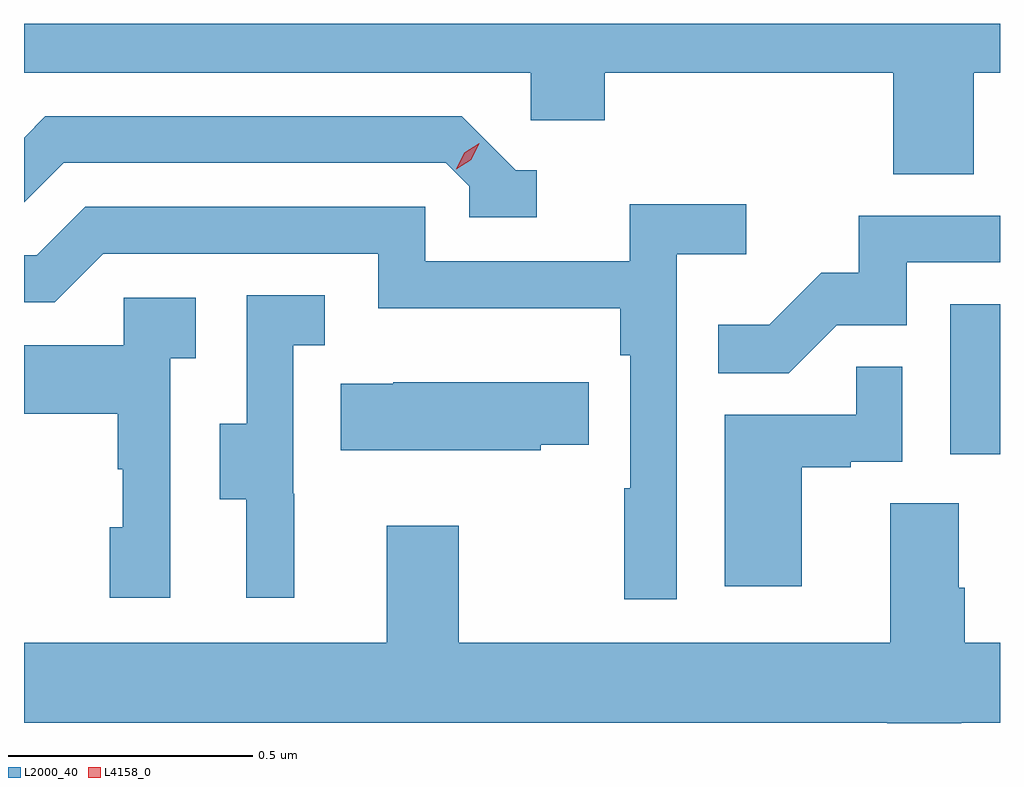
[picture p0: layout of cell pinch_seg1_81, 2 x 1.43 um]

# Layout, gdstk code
import gdstk
lib = gdstk.Library(unit=1e-6, precision=1e-09)
def R(c, l, rs):  # rectangles x0, y0, x1, y1
    for r in rs: c.add(gdstk.rectangle(r[:2], r[2:], *l))
def P(c, l, *ps):  # polygons
    for p in ps: c.add(gdstk.Polygon(p, *l))
L2000_40 = (2000, 40)
L4158_0 = (4158, 0)

pinch_seg1_81 = lib.new_cell('pinch_seg1_81')
R(pinch_seg1_81, L2000_40, [(1059.134,582.918,1059.236,583.225)])
P(pinch_seg1_81, L2000_40, [(1059.182,583.7),(1059.236,583.7),(1059.236,583.8),(1057.236,583.8),(1057.236,583.7),(1058.274,583.7),(1058.274,583.602),(1058.426,583.602),(1058.426,583.7),(1059.017,583.7),(1059.017,583.492),(1059.182,583.492)],
  [(1058.287,583.5),(1058.244,583.5),(1058.133,583.611),(1057.28,583.611),(1057.236,583.567),(1057.236,583.434),(1057.317,583.515),(1058.1,583.515),(1058.148,583.467),(1058.148,583.404),(1058.287,583.404)],
  [(1058.574,583.328),(1058.716,583.328),(1058.716,583.43),(1058.477,583.43),(1058.477,583.314),(1058.058,583.314),(1058.058,583.425),(1057.361,583.425),(1057.262,583.326),(1057.236,583.326),(1057.236,583.23),(1057.299,583.23),(1057.398,583.329),(1057.962,583.329),(1057.962,583.217),(1058.458,583.217),(1058.458,583.121),(1058.478,583.121),(1058.478,582.848),(1058.466,582.848),(1058.466,582.621),(1058.574,582.621)],
  [(1058.901,583.182),(1059.045,583.182),(1059.045,583.311),(1059.236,583.311),(1059.236,583.407),(1058.947,583.407),(1058.947,583.29),(1058.87,583.29),(1058.763,583.183),(1058.659,583.183),(1058.659,583.084),(1058.803,583.084)],
  [(1057.79,582.837),(1057.788,582.837),(1057.788,583.141),(1057.852,583.141),(1057.852,583.244),(1057.692,583.244),(1057.692,582.981),(1057.637,582.981),(1057.637,582.826),(1057.691,582.826),(1057.691,582.624),(1057.79,582.624)],
  [(1057.536,583.115),(1057.588,583.115),(1057.588,583.239),(1057.44,583.239),(1057.44,583.141),(1057.236,583.141),(1057.236,583.001),(1057.428,583.001),(1057.428,582.887),(1057.438,582.887),(1057.438,582.768),(1057.412,582.768),(1057.412,582.624),(1057.536,582.624)],
  [(1058.83,582.891),(1058.93,582.891),(1058.93,582.903),(1059.036,582.903),(1059.036,583.097),(1058.941,583.097),(1058.941,582.999),(1058.672,582.999),(1058.672,582.648),(1058.83,582.648)],
  [(1058.295,582.937),(1058.393,582.937),(1058.393,583.066),(1057.993,583.066),(1057.993,583.063),(1057.885,583.063),(1057.885,582.926),(1058.295,582.926)],
  [(1059.157,582.368),(1059.236,582.368),(1059.236,582.532),(1059.164,582.532),(1059.164,582.644),(1059.151,582.644),(1059.151,582.818),(1059.011,582.818),(1059.011,582.532),(1058.127,582.532),(1058.127,582.772),(1057.979,582.772),(1057.979,582.532),(1057.236,582.532),(1057.236,582.368),(1059.005,582.368),(1059.005,582.367),(1059.157,582.367)])
P(pinch_seg1_81, L4158_0, [(1058.122,583.502),(1058.122,583.503),(1058.138,583.536),(1058.169,583.555),(1058.169,583.555),(1058.169,583.555),(1058.153,583.522),(1058.122,583.502)])

lib.write_gds('pinch_seg1_81.gds')
